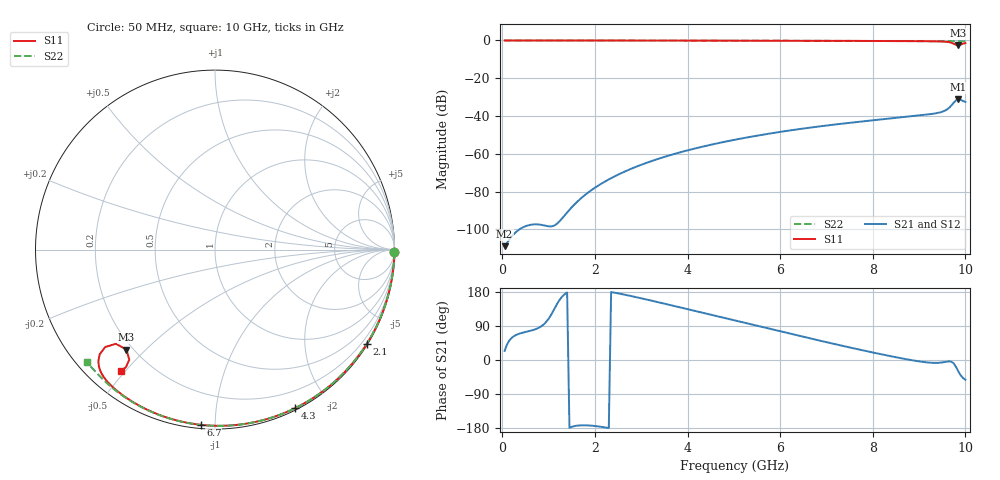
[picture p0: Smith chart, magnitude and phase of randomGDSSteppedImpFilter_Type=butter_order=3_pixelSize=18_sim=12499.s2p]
! freq	dB(S11)	phase(S11)	dB(S12)	phase(S12)
!  dB(S21)	phase(S21)	dB(S22)	phase(S22)
!S-par simulation data
#  GHz  S  DB  R 50
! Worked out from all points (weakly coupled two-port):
!   200 points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, 50 MHz to 10 GHz, reference 50 ohm
!   highest |S21| = -31.23 dB at 9.85 GHz (marker M1); lowest = -108.9 dB at 50 MHz (marker M2)
!   lowest |S11| = -2.6 dB at 9.85 GHz (marker M3), VSWR 6.81, Z = 8.79 - j21.9 ohm
!   |S11| at or under -10 dB: nowhere
!   |S22| runs from -0.5 to 0.0 dB; largest |S21 - S12| = 0
!   S11 on the Smith chart (normalised r, x): 50 MHz: open; 2.1 GHz: 0.03, -3.51; 4.3 GHz: 0.02, -1.62; 6.7 GHz: 0.02, -0.92; 10 GHz: 0.10, -0.49
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0.05  -0.00 -0.8  -108.85 24.1  -108.85 24.1  -0.00 -0.8
0.9  -0.02 -13.8  -97.85 94.6  -97.85 94.6  -0.02 -14.4
1.75  -0.03 -26.6  -82.47 -172.3  -82.47 -172.3  -0.04 -27.7
1.9  -0.04 -28.9  -79.64 -173.0  -79.64 -173.0  -0.04 -30.0
2.1  -0.04 -31.8  -76.37 -175.7  -76.37 -175.7  -0.04 -33.1
2.65  -0.05 -39.9  -69.31 172.2  -69.31 172.2  -0.05 -41.5
3.4  -0.07 -50.7  -62.38 151.6  -62.38 151.6  -0.07 -52.7
4.3  -0.09 -63.3  -56.33 125.4  -56.33 125.4  -0.09 -65.7
5.05  -0.11 -73.4  -52.40 103.4  -52.40 103.4  -0.12 -76.2
5.85  -0.14 -83.9  -48.96 80.1  -48.96 80.1  -0.15 -87.0
6.7  -0.18 -94.7  -45.95 55.5  -45.95 55.5  -0.19 -98.1
7.5  -0.23 -104.7  -43.59 33.1  -43.59 33.1  -0.24 -108.3
8.35  -0.29 -115.2  -41.37 10.9  -41.37 10.9  -0.30 -118.8
9.05  -0.37 -124.4  -39.56 -4.5  -39.56 -4.5  -0.37 -127.3
9.45  -0.51 -131.0  -38.09 -7.1  -38.09 -7.1  -0.41 -132.2
9.6  -0.74 -134.8  -36.57 -4.2  -36.57 -4.2  -0.42 -134.0
9.7  -1.24 -137.8  -34.34 -4.5  -34.34 -4.5  -0.43 -135.2
9.75  -1.75 -138.4  -32.87 -9.3  -32.87 -9.3  -0.44 -135.8
9.8  -2.36 -136.5  -31.66 -18.8  -31.66 -18.8  -0.44 -136.4
9.85  -2.57 -131.5  -31.23 -30.7  -31.23 -30.7  -0.44 -137.0
9.9  -2.19 -127.9  -31.50 -40.7  -31.50 -40.7  -0.44 -137.6
10  -1.37 -127.7  -32.52 -52.0  -32.52 -52.0  -0.46 -138.9
